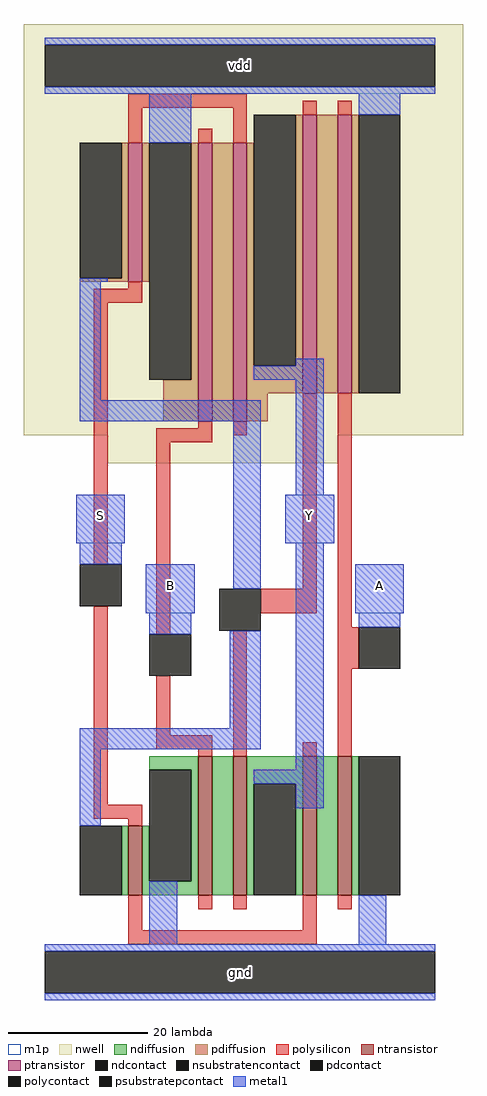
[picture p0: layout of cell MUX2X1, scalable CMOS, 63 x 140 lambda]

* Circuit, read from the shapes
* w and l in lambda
.subckt MUX2X1 A B S Y vdd gnd
M1 gnd S n1 gnd nfet w=10 l=2
M2 n2 B gnd gnd nfet w=20 l=2
M3 Y n1 n2 gnd nfet w=20 l=2
M4 n3 S Y gnd nfet w=20 l=2
M5 gnd A n3 gnd nfet w=20 l=2
M6 vdd S n1 vdd pfet w=20 l=2
M7 n4 B vdd vdd pfet w=40 l=2
M8 Y S n4 vdd pfet w=40 l=2
M9 n5 n1 Y vdd pfet w=40 l=2
M10 vdd A n5 vdd pfet w=40 l=2
.ends

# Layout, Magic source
magic
tech scmos
magscale 1 2
<< nwell >>
rect -12 154 114 272
rect 12 146 78 154
<< ntransistor >>
rect 18 22 22 42
rect 38 22 42 62
rect 48 22 52 62
rect 68 22 72 62
rect 78 22 82 62
<< ptransistor >>
rect 18 198 22 238
rect 38 158 42 238
rect 48 158 52 238
rect 68 166 72 246
rect 78 166 82 246
<< ndiffusion >>
rect 24 58 38 62
rect 16 22 18 42
rect 22 26 24 42
rect 36 26 38 58
rect 22 22 38 26
rect 42 22 48 62
rect 52 54 68 62
rect 52 22 54 54
rect 66 22 68 54
rect 72 22 78 62
rect 82 22 84 62
<< pdiffusion >>
rect 16 199 18 238
rect 4 198 18 199
rect 22 198 24 238
rect 36 170 38 238
rect 28 158 38 170
rect 42 158 48 238
rect 52 174 54 238
rect 66 174 68 246
rect 52 166 68 174
rect 72 166 78 246
rect 82 166 84 246
rect 52 158 58 166
<< ndcontact >>
rect 4 22 16 42
rect 24 26 36 58
rect 54 22 66 54
rect 84 22 96 62
<< pdcontact >>
rect 4 199 16 238
rect 24 170 36 238
rect 54 174 66 246
rect 84 166 96 246
<< psubstratepcontact >>
rect -6 -6 106 6
<< nsubstratencontact >>
rect -6 254 106 266
<< polysilicon >>
rect 18 248 52 252
rect 18 238 22 248
rect 38 238 42 242
rect 48 238 52 248
rect 68 246 72 250
rect 78 246 82 250
rect 18 196 22 198
rect 8 192 22 196
rect 8 117 12 192
rect 38 156 42 158
rect 26 152 42 156
rect 48 154 52 158
rect 8 48 12 105
rect 26 97 30 152
rect 68 110 72 166
rect 56 103 72 110
rect 78 99 82 166
rect 26 68 30 85
rect 26 64 42 68
rect 38 62 42 64
rect 48 62 52 98
rect 78 87 84 99
rect 68 62 72 66
rect 78 62 82 87
rect 8 44 22 48
rect 18 42 22 44
rect 18 12 22 22
rect 38 18 42 22
rect 48 18 52 22
rect 68 12 72 22
rect 78 18 82 22
rect 18 8 72 12
<< polycontact >>
rect 4 105 16 117
rect 44 98 56 110
rect 24 85 36 97
rect 84 87 96 99
<< metal1 >>
rect -6 266 106 268
rect -6 252 106 254
rect 24 238 36 252
rect 84 246 96 252
rect 4 198 12 199
rect 4 164 10 198
rect 66 174 74 176
rect 54 170 74 174
rect 4 158 56 164
rect 3 123 17 137
rect 4 117 16 123
rect 23 103 37 117
rect 48 110 56 158
rect 66 137 74 170
rect 63 123 77 137
rect 24 97 36 103
rect 47 70 56 98
rect 4 64 56 70
rect 4 42 10 64
rect 66 58 74 123
rect 83 103 97 117
rect 84 99 96 103
rect 54 54 74 58
rect 24 8 32 26
rect 66 47 74 54
rect 84 8 92 22
rect -6 6 106 8
rect -6 -8 106 -6
<< m1p >>
rect -6 252 106 268
rect 3 123 17 137
rect 63 123 77 137
rect 23 103 37 117
rect 83 103 97 117
rect -6 -8 106 8
<< labels >>
rlabel nsubstratencontact 50 260 50 260 0 vdd
port 5 nsew power bidirectional abutment
rlabel psubstratepcontact 50 0 50 0 0 gnd
port 6 nsew ground bidirectional abutment
rlabel metal1 10 131 10 131 0 S
port 3 nsew signal input
rlabel metal1 30 111 30 111 0 B
port 2 nsew signal input
rlabel metal1 70 131 70 131 0 Y
port 4 nsew signal output
rlabel metal1 90 111 90 111 0 A
port 1 nsew signal input
<< properties >>
string FIXED_BBOX 0 0 100 260
string LEFclass CORE
string LEFsite core
string LEFsymmetry X Y
<< end >>
